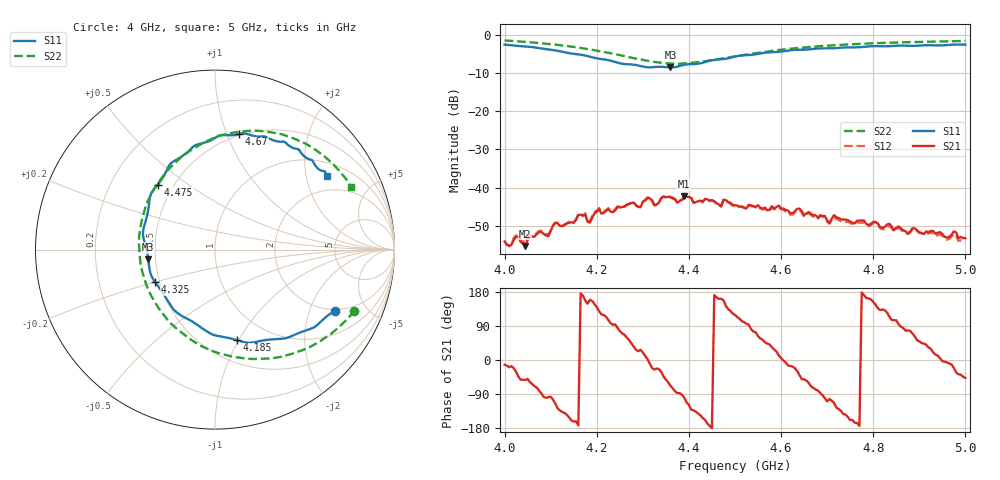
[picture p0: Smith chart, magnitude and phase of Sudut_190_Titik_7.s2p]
# Hz S RI R 50
! CMT, C1220, 16058040, 17.2.0/1
! Date: 15/08/2018 12:03:26
! Data: Format (Calibration Info)
! Freq  S11: Re/Im (F2)  S21: Re/Im (F2)  S12: Re/Im (F2)  S22: Re/Im (F2)
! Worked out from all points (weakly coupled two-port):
!   201 points, 4 GHz to 5 GHz, reference 50 ohm
!   highest |S21| = -42.28 dB at 4.39 GHz (marker M1); lowest = -55.3 dB at 4.045 GHz (marker M2)
!   lowest |S11| = -8.5 dB at 4.36 GHz (marker M3), VSWR 2.20, Z = 22.8 - j2.87 ohm
!   |S11| at or under -10 dB: nowhere
!   |S22| runs from -7.5 to -1.4 dB; largest |S21 - S12| = 0.0003
!   S11 on the Smith chart (normalised r, x): 4 GHz: 1.94, -2.99; 4.185 GHz: 0.71, -0.99; 4.325 GHz: 0.47, -0.20; 4.475 GHz: 0.41, +0.39; 4.67 GHz: 0.49, +1.10; 5 GHz: 1.41, +2.63
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4e9  0.6662 -0.3402  0.00191 -0.000424  0.00195 -0.00038  0.7768 -0.3404
4.01e9  0.6497 -0.3529  0.00162 -0.000562  0.00164 -0.000437  0.7587 -0.3635
4.03e9  0.6057 -0.3861  0.00164 -0.00158  0.00177 -0.00162  0.7187 -0.4047
4.045e9  0.5722 -0.4179  0.00104 -0.00136  0.00118 -0.00142  0.6855 -0.4367
4.075e9  0.4975 -0.4532  0.000392 -0.00258  0.000507 -0.00265  0.6095 -0.494
4.095e9  0.4333 -0.4791  -0.000319 -0.00228  -0.000318 -0.00238  0.554 -0.5288
4.11e9  0.3851 -0.4952  -0.00144 -0.00312  -0.00143 -0.00315  0.5047 -0.5527
4.17e9  0.1714 -0.5178  -0.00418 0.000772  -0.00429 0.000687  0.281 -0.6072
4.185e9  0.1225 -0.5053  -0.00323 0.00124  -0.00341 0.00112  0.2182 -0.6099
4.205e9  0.0452 -0.4868  -0.00326 0.00401  -0.00346 0.00413  0.1312 -0.6016
4.295e9  -0.2553 -0.298  0.00492 0.0025  0.00497 0.00249  -0.2485 -0.4092
4.31e9  -0.2925 -0.2385  0.00727 0.000297  0.00742 0.000297  -0.2959 -0.3509
4.325e9  -0.3339 -0.1817  0.00528 -0.00248  0.00537 -0.00247  -0.3385 -0.287
4.335e9  -0.3534 -0.1481  0.00579 -0.00262  0.00583 -0.00268  -0.3634 -0.241
4.36e9  -0.3719 -0.0541  0.00279 -0.00689  0.0028 -0.00703  -0.4063 -0.1184
4.39e9  -0.4003 0.0736  -0.00132 -0.00758  -0.00153 -0.00766  -0.4236 0.03
4.47e9  -0.331 0.3472  -0.00543 0.00184  -0.00527 0.00195  -0.3147 0.3746
4.475e9  -0.3182 0.3625  -0.00641 0.00261  -0.00623 0.00271  -0.3031 0.3906
4.5e9  -0.2665 0.4475  -0.00283 0.00513  -0.00281 0.00501  -0.24 0.4668
4.67e9  0.133 0.6434  0.0012 -0.00415  0.00115 -0.00398  0.2373 0.662
4.835e9  0.4348 0.5661  -0.00138 0.00303  -0.00137 0.00283  0.5729 0.5468
5e9  0.6217 0.4128  0.00147 -0.00159  0.00142 -0.00137  0.7582 0.3506
